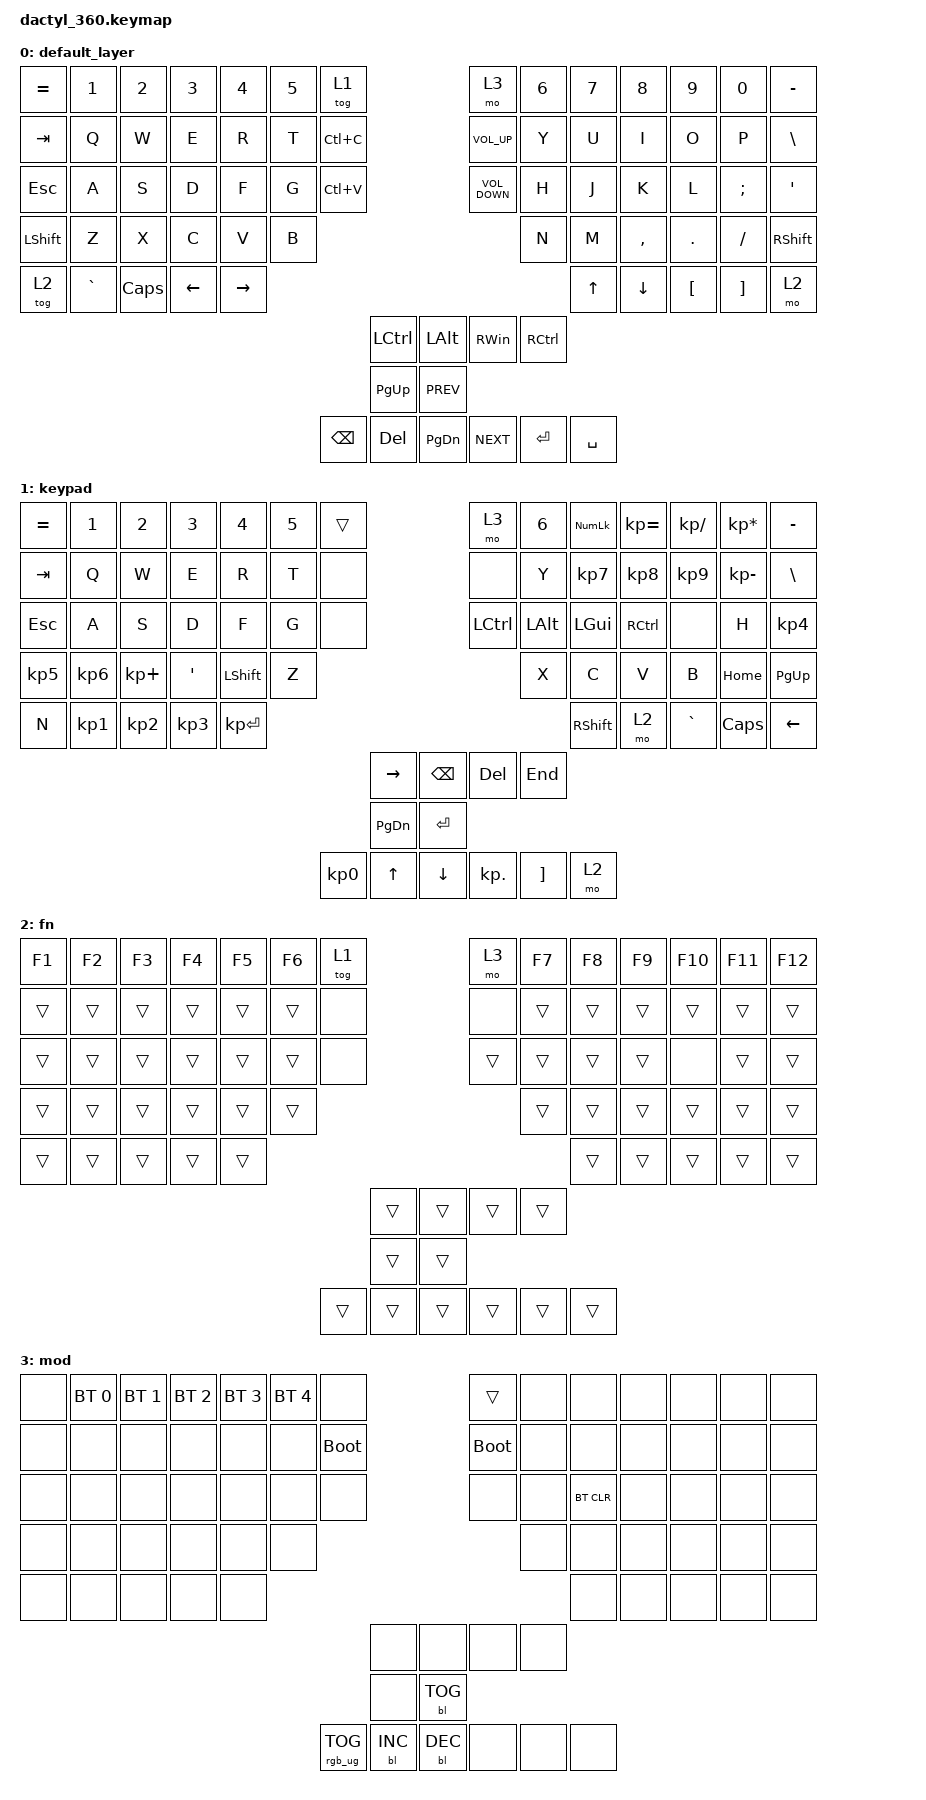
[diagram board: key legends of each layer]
#include <behaviors.dtsi>
#include <dt-bindings/zmk/backlight.h>
#include <dt-bindings/zmk/bt.h>
#include <dt-bindings/zmk/keys.h>
#include <dt-bindings/zmk/rgb.h>

/ {
    keymap {
        compatible = "zmk,keymap";

        default_layer {
            bindings = <
&kp EQUAL       &kp N1     &kp N2        &kp N3    &kp N4     &kp N5  &tog 1                                                                       &mo 3              &kp N6  &kp N7        &kp N8          &kp N9            &kp N0    &kp MINUS
&kp TAB         &kp Q      &kp W         &kp E     &kp R      &kp T   &kp LC(C)                                                                    &kp C_VOLUME_UP    &kp Y   &kp U         &kp I           &kp O             &kp P     &kp BSLH
&kp ESC         &kp A      &kp S         &kp D     &kp F      &kp G   &kp LC(V)                                                                    &kp C_VOLUME_DOWN  &kp H   &kp J         &kp K           &kp L             &kp SEMI  &kp SQT
&kp LEFT_SHIFT  &kp Z      &kp X         &kp C     &kp V      &kp B                                                                                                   &kp N   &kp M         &kp COMMA       &kp DOT           &kp FSLH  &kp RSHFT
&tog 2          &kp GRAVE  &kp CAPSLOCK  &kp LEFT  &kp RIGHT                                                                                                                  &kp UP_ARROW  &kp DOWN_ARROW  &kp LEFT_BRACKET  &kp RBKT  &mo 2
                                                                                                &kp LCTRL   &kp LALT     &kp RIGHT_WIN  &kp RCTRL
                                                                                                            &kp PG_UP    &kp C_PREV
                                                                                 &kp BACKSPACE  &kp DELETE  &kp PG_DN    &kp C_NEXT     &kp ENTER  &kp SPACE
            >;
        };

        keypad {
            bindings = <
&kp EQUAL  &kp N1     &kp N2       &kp N3     &kp N4        &kp N5  &trans                                                           &mo 3      &kp N6    &kp KP_NUM  &kp KP_EQUAL  &kp KP_DIVIDE  &kp KP_MULTIPLY  &kp MINUS
&kp TAB    &kp Q      &kp W        &kp E      &kp R         &kp T   &none                                                            &none      &kp Y     &kp KP_N7   &kp KP_N8     &kp KP_N9      &kp KP_MINUS     &kp BSLH
&kp ESC    &kp A      &kp S        &kp D      &kp F         &kp G   &none                                                            &kp LCTRL  &kp LALT  &kp LGUI    &kp RCTRL     &none          &kp H            &kp KP_N4
&kp KP_N5  &kp KP_N6  &kp KP_PLUS  &kp SQT    &kp LSHFT     &kp Z                                                                               &kp X     &kp C       &kp V         &kp B          &kp HOME         &kp PG_UP
&kp N      &kp KP_N1  &kp KP_N2    &kp KP_N3  &kp KP_ENTER                                                                                                &kp RSHFT   &mo 2         &kp GRAVE      &kp CAPS         &kp LEFT
                                                                                       &kp RIGHT  &kp BSPC     &kp DEL     &kp END
                                                                                                  &kp PG_DN    &kp ENTER
                                                                            &kp KP_N0  &kp UP     &kp DOWN     &kp KP_DOT  &kp RBKT  &mo 2
            >;
        };

        fn {
            bindings = <
&kp F1  &kp F2  &kp F3  &kp F4  &kp F5  &kp F6  &tog 1                                            &mo 3   &kp F7  &kp F8  &kp F9  &kp F10  &kp F11  &kp F12
&trans  &trans  &trans  &trans  &trans  &trans  &none                                             &none   &trans  &trans  &trans  &trans   &trans   &trans
&trans  &trans  &trans  &trans  &trans  &trans  &none                                             &trans  &trans  &trans  &trans  &none    &trans   &trans
&trans  &trans  &trans  &trans  &trans  &trans                                                            &trans  &trans  &trans  &trans   &trans   &trans
&trans  &trans  &trans  &trans  &trans                                                                            &trans  &trans  &trans   &trans   &trans
                                                                &trans  &trans    &trans  &trans
                                                                        &trans    &trans
                                                        &trans  &trans  &trans    &trans  &trans  &trans
            >;
        };

        mod {
            bindings = <
&none  &bt BT_SEL 0  &bt BT_SEL 1  &bt BT_SEL 2  &bt BT_SEL 3  &bt BT_SEL 4  &none                                                                      &trans       &none  &none       &none  &none  &none  &none
&none  &none         &none         &none         &none         &none         &bootloader                                                                &bootloader  &none  &none       &none  &none  &none  &none
&none  &none         &none         &none         &none         &none         &none                                                                      &none        &none  &bt BT_CLR  &none  &none  &none  &none
&none  &none         &none         &none         &none         &none                                                                                                 &none  &none       &none  &none  &none  &none
&none  &none         &none         &none         &none                                                                                                                      &none       &none  &none  &none  &none
                                                                                                           &none       &none         &none       &none
                                                                                                                       &none         &bl BL_TOG
                                                                                          &rgb_ug RGB_TOG  &bl BL_INC  &bl BL_DEC    &none       &none  &none
            >;
        };
    };
};
